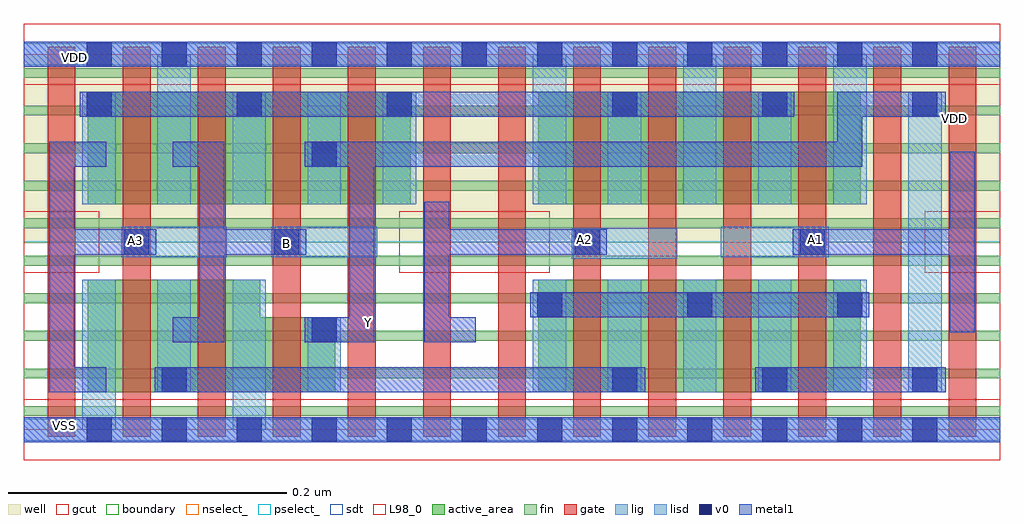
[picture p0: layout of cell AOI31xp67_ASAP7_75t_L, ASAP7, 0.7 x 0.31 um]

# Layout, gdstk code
import gdstk
lib = gdstk.Library(unit=1e-6, precision=2.5e-10)
def R(c, l, rs):  # rectangles x0, y0, x1, y1
    for r in rs: c.add(gdstk.rectangle(r[:2], r[2:], *l))
def A(c, l, x, y, w, h, nx, ny, dx, dy):  # array of equal rectangles
    R(c, l, [(x+i*dx, y+j*dy, x+i*dx+w, y+j*dy+h) for i in range(nx) for j in range(ny)])
def P(c, l, *ps):  # polygons
    for p in ps: c.add(gdstk.Polygon(p, *l))
well = (1, 0)
fin = (2, 0)
gate = (7, 0)
gcut = (10, 0)
active_area = (11, 0)
nselect_ = (12, 0)
pselect_ = (13, 0)
lig = (16, 0)
lisd = (17, 0)
v0 = (18, 0)
metal1 = (19, 0)
sdt = (88, 0)
L98_0 = (98, 0)
boundary = (100, 0)

aoi31xp67_asap7_75t_l = lib.new_cell('AOI31xp67_ASAP7_75t_L')
R(aoi31xp67_asap7_75t_l, well, [(0,0.135,0.702,0.27)])
A(aoi31xp67_asap7_75t_l, fin, 0, 0.01, 0.702, 0.007, 1, 10, 0, 0.027)
A(aoi31xp67_asap7_75t_l, gate, 0.017, -0.005, 0.02, 0.2805, 13, 1, 0.054, 0)
R(aoi31xp67_asap7_75t_l, gcut, [(0,-0.022,0.702,0.022), (0,0.113,0.054,0.157), (0.27,0.113,0.378,0.157), (0.648,0.113,0.702,0.157), (0,0.248,0.702,0.292)])
R(aoi31xp67_asap7_75t_l, active_area, [(0.37,0.027,0.602,0.108), (0.046,0.162,0.278,0.243), (0.37,0.162,0.602,0.243)])
P(aoi31xp67_asap7_75t_l, active_area, [(0.224,0.081),(0.17,0.081),(0.17,0.108),(0.046,0.108),(0.046,0.027),(0.224,0.027)])
R(aoi31xp67_asap7_75t_l, nselect_, [(0,0,0.702,0.135)])
R(aoi31xp67_asap7_75t_l, pselect_, [(0,0.135,0.702,0.27)])
R(aoi31xp67_asap7_75t_l, lig, [(0,-0.008,0.702,0.008), (0.394,0.123,0.47,0.145), (0.07,0.124,0.146,0.146), (0.178,0.124,0.254,0.146), (0.501,0.124,0.579,0.146), (0,0.262,0.702,0.278)])
A(aoi31xp67_asap7_75t_l, lisd, 0.366, 0.027, 0.024, 0.081, 5, 1, 0.054, 0)
A(aoi31xp67_asap7_75t_l, lisd, 0.15, 0.162, 0.024, 0.081, 3, 1, 0.054, 0)
A(aoi31xp67_asap7_75t_l, lisd, 0.366, 0.162, 0.024, 0.108, 3, 1, 0.108, 0)
R(aoi31xp67_asap7_75t_l, lisd, [(0.042,0,0.066,0.108), (0.15,0,0.174,0.108), (0.096,0.027,0.12,0.108), (0.204,0.027,0.228,0.081), (0.636,0.027,0.66,0.243), (0.042,0.162,0.066,0.243), (0.096,0.162,0.12,0.27), (0.42,0.162,0.444,0.243), (0.528,0.162,0.552,0.243)])
A(aoi31xp67_asap7_75t_l, v0, 0.045, -0.009, 0.018, 0.018, 12, 2, 0.054, 0.27)
A(aoi31xp67_asap7_75t_l, v0, 0.423, 0.027, 0.018, 0.018, 3, 2, 0.108, 0.198)
A(aoi31xp67_asap7_75t_l, v0, 0.369, 0.081, 0.018, 0.018, 3, 1, 0.108, 0)
A(aoi31xp67_asap7_75t_l, v0, 0.045, 0.225, 0.018, 0.018, 3, 1, 0.108, 0)
R(aoi31xp67_asap7_75t_l, v0, [(0.099,0.027,0.117,0.045), (0.207,0.063,0.225,0.081), (0.072,0.126,0.09,0.144), (0.18,0.126,0.198,0.144), (0.396,0.126,0.414,0.144), (0.558,0.126,0.576,0.144), (0.207,0.189,0.225,0.207)])
R(aoi31xp67_asap7_75t_l, metal1, [(0,-0.009,0.702,0.009), (0.094,0.027,0.447,0.045), (0.526,0.027,0.663,0.045), (0.364,0.081,0.608,0.099), (0.04,0.225,0.554,0.243), (0,0.261,0.702,0.279)])
P(aoi31xp67_asap7_75t_l, metal1, [(0.095,0.144),(0.036,0.144),(0.036,0.189),(0.059,0.189),(0.059,0.207),(0.018,0.207),(0.018,0.027),(0.059,0.027),(0.059,0.045),(0.036,0.045),(0.036,0.126),(0.095,0.126)],
  [(0.203,0.144),(0.144,0.144),(0.144,0.207),(0.107,0.207),(0.107,0.189),(0.126,0.189),(0.126,0.081),(0.107,0.081),(0.107,0.063),(0.144,0.063),(0.144,0.126),(0.203,0.126)],
  [(0.419,0.144),(0.306,0.144),(0.306,0.164),(0.288,0.164),(0.288,0.063),(0.325,0.063),(0.325,0.081),(0.306,0.081),(0.306,0.126),(0.419,0.126)],
  [(0.684,0.2),(0.666,0.2),(0.666,0.144),(0.553,0.144),(0.553,0.126),(0.666,0.126),(0.666,0.07),(0.684,0.07)],
  [(0.663,0.243),(0.585,0.243),(0.585,0.207),(0.202,0.207),(0.202,0.189),(0.234,0.189),(0.234,0.081),(0.202,0.081),(0.202,0.063),(0.252,0.063),(0.252,0.189),(0.603,0.189),(0.603,0.225),(0.663,0.225)])
A(aoi31xp67_asap7_75t_l, sdt, 0.042, 0.027, 0.024, 0.081, 3, 1, 0.054, 0)
A(aoi31xp67_asap7_75t_l, sdt, 0.366, 0.027, 0.024, 0.081, 5, 2, 0.054, 0.135)
A(aoi31xp67_asap7_75t_l, sdt, 0.042, 0.162, 0.024, 0.081, 5, 1, 0.054, 0)
R(aoi31xp67_asap7_75t_l, sdt, [(0.204,0.027,0.228,0.081)])
R(aoi31xp67_asap7_75t_l, L98_0, [(0,0,0.702,0.27)])
R(aoi31xp67_asap7_75t_l, boundary, [(0,0,0.702,0.27)])
aoi31xp67_asap7_75t_l.add(gdstk.Label('VDD', (0.669,0.224), layer=1, texttype=251))
aoi31xp67_asap7_75t_l.add(gdstk.Label('VSS', (0.029,0.003), layer=19, texttype=251))
aoi31xp67_asap7_75t_l.add(gdstk.Label('VDD', (0.036,0.2675), layer=19, texttype=251))
aoi31xp67_asap7_75t_l.add(gdstk.Label('A3', (0.08,0.136), layer=19, texttype=251))
aoi31xp67_asap7_75t_l.add(gdstk.Label('B', (0.189,0.134), layer=19, texttype=251))
aoi31xp67_asap7_75t_l.add(gdstk.Label('A1', (0.569,0.137), layer=19, texttype=251))
aoi31xp67_asap7_75t_l.add(gdstk.Label('A2', (0.403,0.137), layer=19, texttype=251))
aoi31xp67_asap7_75t_l.add(gdstk.Label('Y', (0.248,0.077), layer=19, texttype=251))
aoi31xp67_asap7_75t_l.add(gdstk.Label('VSS', (0.73,0.223), layer=3, texttype=251))

lib.write_gds('AOI31xp67_ASAP7_75t_L.gds')
